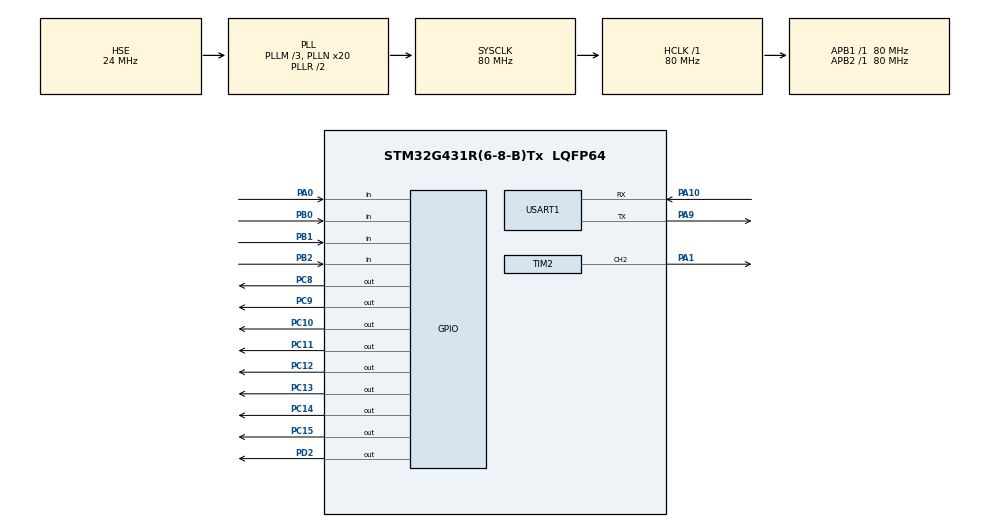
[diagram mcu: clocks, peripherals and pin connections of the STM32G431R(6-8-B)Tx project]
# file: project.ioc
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Mcu.Family=STM32G4
Mcu.Name=STM32G431R(6-8-B)Tx
Mcu.Package=LQFP64
NVIC.PriorityGroup=NVIC_PRIORITYGROUP_4
NVIC.TIM4_IRQn=true\:0\:0\:false\:false\:true\:true\:true\:true
NVIC.USART1_IRQn=true\:0\:0\:false\:false\:true\:true\:true\:true
PA0.GPIO_Mode=GPIO_MODE_INPUT
PA0.GPIO_PuPd=GPIO_PULLUP
PA0.Signal=GPIO_Input
PA1.Signal=S_TIM2_CH2
PA10.Mode=Asynchronous
PA10.Signal=USART1_RX
PA13.Mode=Serial_Wire
PA13.Signal=SYS_JTMS-SWDIO
PA14.Mode=Serial_Wire
PA14.Signal=SYS_JTCK-SWCLK
PA9.Mode=Asynchronous
PA9.Signal=USART1_TX
PB0.GPIO_Mode=GPIO_MODE_INPUT
PB0.GPIO_PuPd=GPIO_PULLUP
PB0.Signal=GPIO_Input
PB1.GPIO_Mode=GPIO_MODE_INPUT
PB1.GPIO_PuPd=GPIO_PULLUP
PB1.Signal=GPIO_Input
PB2.GPIO_Mode=GPIO_MODE_INPUT
PB2.GPIO_PuPd=GPIO_PULLUP
PB2.Signal=GPIO_Input
PC10.PinState=GPIO_PIN_SET
PC10.Signal=GPIO_Output
PC11.PinState=GPIO_PIN_SET
PC11.Signal=GPIO_Output
PC12.PinState=GPIO_PIN_SET
PC12.Signal=GPIO_Output
PC13.PinState=GPIO_PIN_SET
PC13.Signal=GPIO_Output
PC14-OSC32_IN.PinState=GPIO_PIN_SET
PC14-OSC32_IN.Signal=GPIO_Output
PC15-OSC32_OUT.PinState=GPIO_PIN_SET
PC15-OSC32_OUT.Signal=GPIO_Output
PC8.PinState=GPIO_PIN_SET
PC8.Signal=GPIO_Output
PC9.PinState=GPIO_PIN_SET
PC9.Signal=GPIO_Output
PD2.Signal=GPIO_Output
PF0-OSC_IN.Mode=HSE-External-Oscillator
PF0-OSC_IN.Signal=RCC_OSC_IN
PF1-OSC_OUT.Mode=HSE-External-Oscillator
PF1-OSC_OUT.Signal=RCC_OSC_OUT
ProjectManager.HeapSize=0x200
ProjectManager.StackSize=0x400
ProjectManager.TargetToolchain=MDK-ARM V5.32
RCC.ADC12Freq_Value=80000000
RCC.AHBFreq_Value=80000000
RCC.APB1Freq_Value=80000000
RCC.APB1TimFreq_Value=80000000
RCC.APB2Freq_Value=80000000
RCC.APB2TimFreq_Value=80000000
RCC.CortexFreq_Value=80000000
RCC.EXTERNAL_CLOCK_VALUE=12288000
RCC.HCLKFreq_Value=80000000
RCC.HSE_VALUE=24000000
RCC.HSI48_VALUE=48000000
RCC.HSI_VALUE=16000000
RCC.LSE_VALUE=32768
RCC.PLLM=RCC_PLLM_DIV3
RCC.PLLN=20
RCC.PLLSourceVirtual=RCC_PLLSOURCE_HSE
RCC.SYSCLKFreq_VALUE=80000000
RCC.SYSCLKSource=RCC_SYSCLKSOURCE_PLLCLK
RCC.USBFreq_Value=80000000
RCC.VCOOutputFreq_Value=160000000
SH.S_TIM2_CH2.0=TIM2_CH2,PWM Generation2 CH2
TIM2.Channel-PWM\ Generation2\ CH2=TIM_CHANNEL_2
TIM2.PeriodNoDither=100-1
TIM2.Prescaler=800-1
TIM2.PulseNoDither_2=50
TIM4.PeriodNoDither=1000-1
TIM4.Prescaler=8000-1
USART1.VirtualMode-Asynchronous=VM_ASYNC
VP_SYS_VS_DBSignals.Mode=DisableDeadBatterySignals
VP_TIM4_VS_ClockSourceINT.Mode=Internal
board=custom

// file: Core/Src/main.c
/* USER CODE BEGIN Header */
/**
  ******************************************************************************
  * @file           : main.c
  * @brief          : Main program body
  ******************************************************************************
  * @attention
  *
  * Copyright (c) 2022 STMicroelectronics.
  * All rights reserved.
  *
  * This software is licensed under terms that can be found in the LICENSE file
  * in the root directory of this software component.
  * If no LICENSE file comes with this software, it is provided AS-IS.
  *
  ******************************************************************************
  */
/* USER CODE END Header */
#include "main.h"
#include "tim.h"
#include "usart.h"
#include "gpio.h"

/* USER CODE BEGIN Includes */
#include "headfile.h"
/* USER CODE END Includes */

void SystemClock_Config(void);

int main(void)
{

  /* MCU Configuration--------------------------------------------------------*/

  /* Reset of all peripherals, Initializes the Flash interface and the Systick. */
  HAL_Init();

  /* Configure the system clock */
  SystemClock_Config();

  /* Initialize all configured peripherals */
  MX_GPIO_Init();
  MX_TIM2_Init();
  MX_USART1_UART_Init();
  MX_TIM4_Init();
  /* USER CODE BEGIN 2 */

	HAL_GPIO_WritePin(GPIOD, GPIO_PIN_2, GPIO_PIN_RESET);
	HAL_TIM_Base_Start_IT(&htim4);
	HAL_TIM_PWM_Start(&htim2,TIM_CHANNEL_2);
	HAL_UART_Receive_IT(&huart1,&rx_data,1);

	LCD_Init();
	LCD_Clear(Black);
	LCD_SetBackColor(Black);
	LCD_SetTextColor(White);

  /* USER CODE END 2 */

  /* Infinite loop */
  /* USER CODE BEGIN WHILE */

  while (1)
  {

		key_scan();
		if(pw_flag)
		{
			lcd_show1();
		}
		else
    {
			lcd_show2();
			if(sta_to_psd_flag)
			{
				sta_to_psd_flag=0;
				LCD_ClearLine(Line3);
				LCD_ClearLine(Line4);
			}
		}

    /* USER CODE END WHILE */

  }
}

void SystemClock_Config(void)
{
  RCC_OscInitTypeDef RCC_OscInitStruct = {0};
  RCC_ClkInitTypeDef RCC_ClkInitStruct = {0};

  /** Configure the main internal regulator output voltage
  */
  HAL_PWREx_ControlVoltageScaling(PWR_REGULATOR_VOLTAGE_SCALE1);

  /** Initializes the RCC Oscillators according to the specified parameters
  * in the RCC_OscInitTypeDef structure.
  */
  RCC_OscInitStruct.OscillatorType = RCC_OSCILLATORTYPE_HSE;
  RCC_OscInitStruct.HSEState = RCC_HSE_ON;
  RCC_OscInitStruct.PLL.PLLState = RCC_PLL_ON;
  RCC_OscInitStruct.PLL.PLLSource = RCC_PLLSOURCE_HSE;
  RCC_OscInitStruct.PLL.PLLM = RCC_PLLM_DIV3;
  RCC_OscInitStruct.PLL.PLLN = 20;
  RCC_OscInitStruct.PLL.PLLP = RCC_PLLP_DIV2;
  RCC_OscInitStruct.PLL.PLLQ = RCC_PLLQ_DIV2;
  RCC_OscInitStruct.PLL.PLLR = RCC_PLLR_DIV2;
  if (HAL_RCC_OscConfig(&RCC_OscInitStruct) != HAL_OK)
  {
    Error_Handler();
  }

  /** Initializes the CPU, AHB and APB buses clocks
  */
  RCC_ClkInitStruct.ClockType = RCC_CLOCKTYPE_HCLK|RCC_CLOCKTYPE_SYSCLK
                              |RCC_CLOCKTYPE_PCLK1|RCC_CLOCKTYPE_PCLK2;
  RCC_ClkInitStruct.SYSCLKSource = RCC_SYSCLKSOURCE_PLLCLK;
  RCC_ClkInitStruct.AHBCLKDivider = RCC_SYSCLK_DIV1;
  RCC_ClkInitStruct.APB1CLKDivider = RCC_HCLK_DIV1;
  RCC_ClkInitStruct.APB2CLKDivider = RCC_HCLK_DIV1;

  if (HAL_RCC_ClockConfig(&RCC_ClkInitStruct, FLASH_LATENCY_2) != HAL_OK)
  {
    Error_Handler();
  }
}

void Error_Handler(void)
{
  __disable_irq();
  while (1)
  {
  }
}
